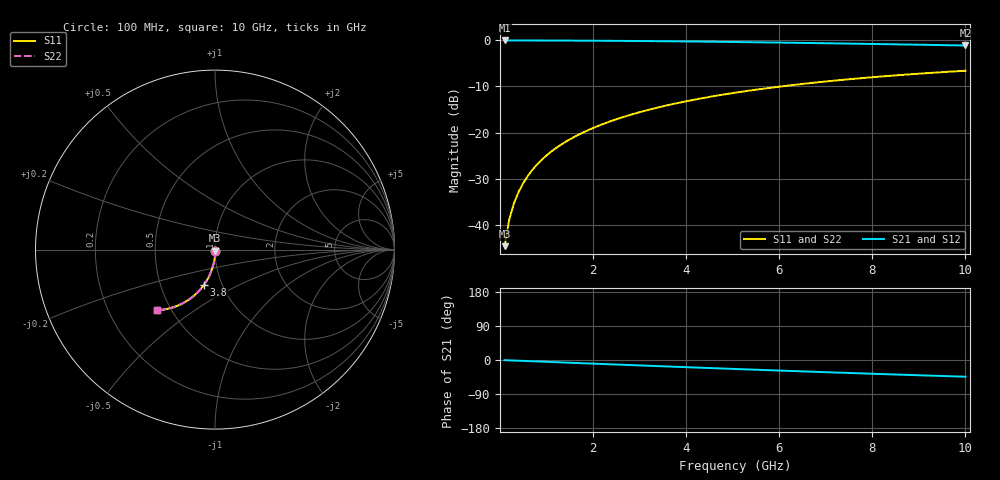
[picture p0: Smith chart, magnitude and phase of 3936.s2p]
# Hz S RI R 50.00
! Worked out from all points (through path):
!   100 points, 100 MHz to 10 GHz, reference 50 ohm
!   highest |S21| = -0.01 dB at 100 MHz (marker M1); lowest = -1.1 dB at 10 GHz (marker M2)
!   group delay of S21, straight-line fit = 12.3 ps
!   lowest |S11| = -44.7 dB at 100 MHz (marker M3), VSWR 1.01, Z = 50.1 - j0.568 ohm
!   |S11| at or under -10 dB: start of sweep to 6.034 GHz
!   |S22| runs from -44.7 to -6.6 dB; largest |S21 - S12| = 0
!   S11 on the Smith chart (normalised r, x): 100 MHz: 1.00, -0.01; 3.8 GHz: 0.82, -0.34; 10 GHz: 0.42, -0.36
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1e8  0.00147 -0.00566  0.9984 -0.00838  0.9984 -0.00838  0.00147 -0.00566
2e8  0.00133 -0.0113  0.9982 -0.0168  0.9982 -0.0168  0.00133 -0.0113
3e8  0.00109 -0.017  0.998 -0.0251  0.998 -0.0251  0.00109 -0.017
4e8  0.00076 -0.0226  0.9976 -0.0335  0.9976 -0.0335  0.00076 -0.0226
5e8  0.000332 -0.0283  0.9971 -0.0418  0.9971 -0.0418  0.000332 -0.0283
6e8  -0.00019 -0.0339  0.9966 -0.0502  0.9966 -0.0502  -0.00019 -0.0339
7e8  -0.000807 -0.0395  0.9959 -0.0585  0.9959 -0.0585  -0.000807 -0.0395
8e8  -0.00152 -0.0451  0.9951 -0.0669  0.9951 -0.0669  -0.00152 -0.0451
9e8  -0.00232 -0.0507  0.9942 -0.0752  0.9942 -0.0752  -0.00232 -0.0507
1.1e9  -0.00421 -0.0619  0.9922 -0.0917  0.9922 -0.0917  -0.00421 -0.0619
1.4e9  -0.00773 -0.0784  0.9884 -0.1164  0.9884 -0.1164  -0.00773 -0.0784
1.8e9  -0.0137 -0.1001  0.9819 -0.1489  0.9819 -0.1489  -0.0137 -0.1001
2.1e9  -0.0191 -0.116  0.9761 -0.173  0.9761 -0.173  -0.0191 -0.116
2.5e9  -0.0274 -0.1366  0.967 -0.2046  0.967 -0.2046  -0.0274 -0.1366
2.9e9  -0.0371 -0.1566  0.9566 -0.2354  0.9566 -0.2354  -0.0371 -0.1566
3.4e9  -0.0508 -0.1804  0.9416 -0.2728  0.9416 -0.2728  -0.0508 -0.1804
3.8e9  -0.063 -0.1984  0.9283 -0.3018  0.9283 -0.3018  -0.063 -0.1984
4.4e9  -0.0832 -0.2236  0.9062 -0.3434  0.9062 -0.3434  -0.0832 -0.2236
5.1e9  -0.1093 -0.25  0.8776 -0.389  0.8776 -0.389  -0.1093 -0.25
6.7e9  -0.1761 -0.2972  0.8034 -0.4803  0.8034 -0.4803  -0.1761 -0.2972
8.4e9  -0.2529 -0.3271  0.7165 -0.5575  0.7165 -0.5575  -0.2529 -0.3271
1e10  -0.3252 -0.3374  0.6323 -0.6128  0.6323 -0.6128  -0.3252 -0.3374
